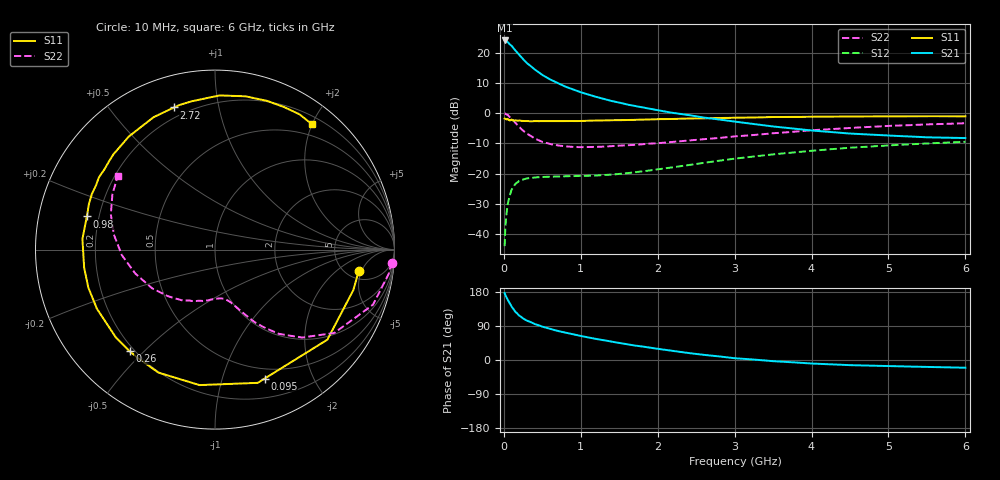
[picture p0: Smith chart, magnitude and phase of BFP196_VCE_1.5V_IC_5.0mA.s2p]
! Infineon Technologies  Discrete & RF Semiconductors
! BFP196
! VCE = 1.5 V,  IC = 5.0mA
! Common Emitter S-Parameters:  Jan 2016
# GHz  S  MA  R  50
!  f  S11  S21  S12  S22
! GHz  MAG  ANG  MAG  ANG  MAG  ANG  MAG  ANG
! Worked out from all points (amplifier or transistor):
!   210 points, 10 MHz to 6 GHz, reference 50 ohm
!   highest |S21| = 24.0 dB at 10 MHz (marker M1)
!   |S21| within 3 dB of that: start of sweep to 139.3 MHz
!   unconditionally stable (mu >= 1): 1.11 GHz to 3.432 GHz; 5.571 GHz to end of sweep
!   at 185 MHz: K = 0.20, MSG = 21.2 dB, |S12| = -22.7 dB
!   at 1.52 GHz: K = 1.20, MAG = 9.0 dB, |S12| = -20.1 dB
!   at 6 GHz: K = 1.02, MAG = -0.3 dB, |S12| = -9.5 dB
!   S11 on the Smith chart (normalised r, x): 10 MHz: 6.43, -4.42; 95 MHz: 0.39, -1.38; 260 MHz: 0.18, -0.45; 980 MHz: 0.15, +0.12; 2.72 GHz: 0.15, +0.74; 6 GHz: 0.31, +2.00
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0.01  0.8098 -8.4  15.84 176.6  0.0063 87.0  0.9861 -4.2
0.02  0.8031 -16.3  15.45 170.9  0.0128 78.8  0.9769 -8.0
0.05  0.8024 -38.7  14.9 158.7  0.031 70.3  0.9324 -19.2
0.095  0.7699 -68.9  13.1 142.8  0.0514 56.0  0.8202 -33.1
0.1  0.7797 -72.2  12.97 140.8  0.0538 55.1  0.8112 -34.9
0.15  0.7598 -96.5  10.81 127.0  0.0674 44.2  0.6895 -45.3
0.2  0.7543 -114.7  9.185 117.2  0.0754 36.6  0.5894 -52.8
0.24  0.7413 -125.4  8.025 111.2  0.0789 32.2  0.5259 -56.8
0.26  0.7394 -130.1  7.537 108.4  0.0804 30.6  0.4999 -58.6
0.3  0.7382 -138.3  6.702 103.8  0.083 28.2  0.4581 -61.5
0.4  0.7359 -153.4  5.262 95.0  0.0863 23.6  0.3801 -66.5
0.5  0.7369 -163.4  4.263 88.0  0.0875 21.4  0.3336 -70.3
0.7  0.7351 -178.9  3.116 76.6  0.0892 19.9  0.2919 -76.0
0.98  0.7376 165.5  2.252 64.2  0.0909 21.7  0.2732 -84.2
1.02  0.74 163.5  2.167 62.6  0.0912 22.1  0.2731 -85.4
1.4  0.762 148.0  1.583 48.6  0.096 27.2  0.2844 -97.0
2.02  0.7923 126.7  1.1 28.9  0.1182 35.6  0.3188 -117.2
2.72  0.8242 106.1  0.805 11.2  0.1579 37.5  0.38 -139.7
3.1  0.8387 96.8  0.696 3.4  0.1823 35.2  0.4192 -151.6
4.1  0.8707 77.2  0.503 -10.1  0.2435 25.4  0.528 -179.1
5.1  0.8829 62.9  0.419 -16.7  0.2963 13.2  0.6187 159.3
6  0.883 52.3  0.386 -20.4  0.3348 1.7  0.6791 143.0
